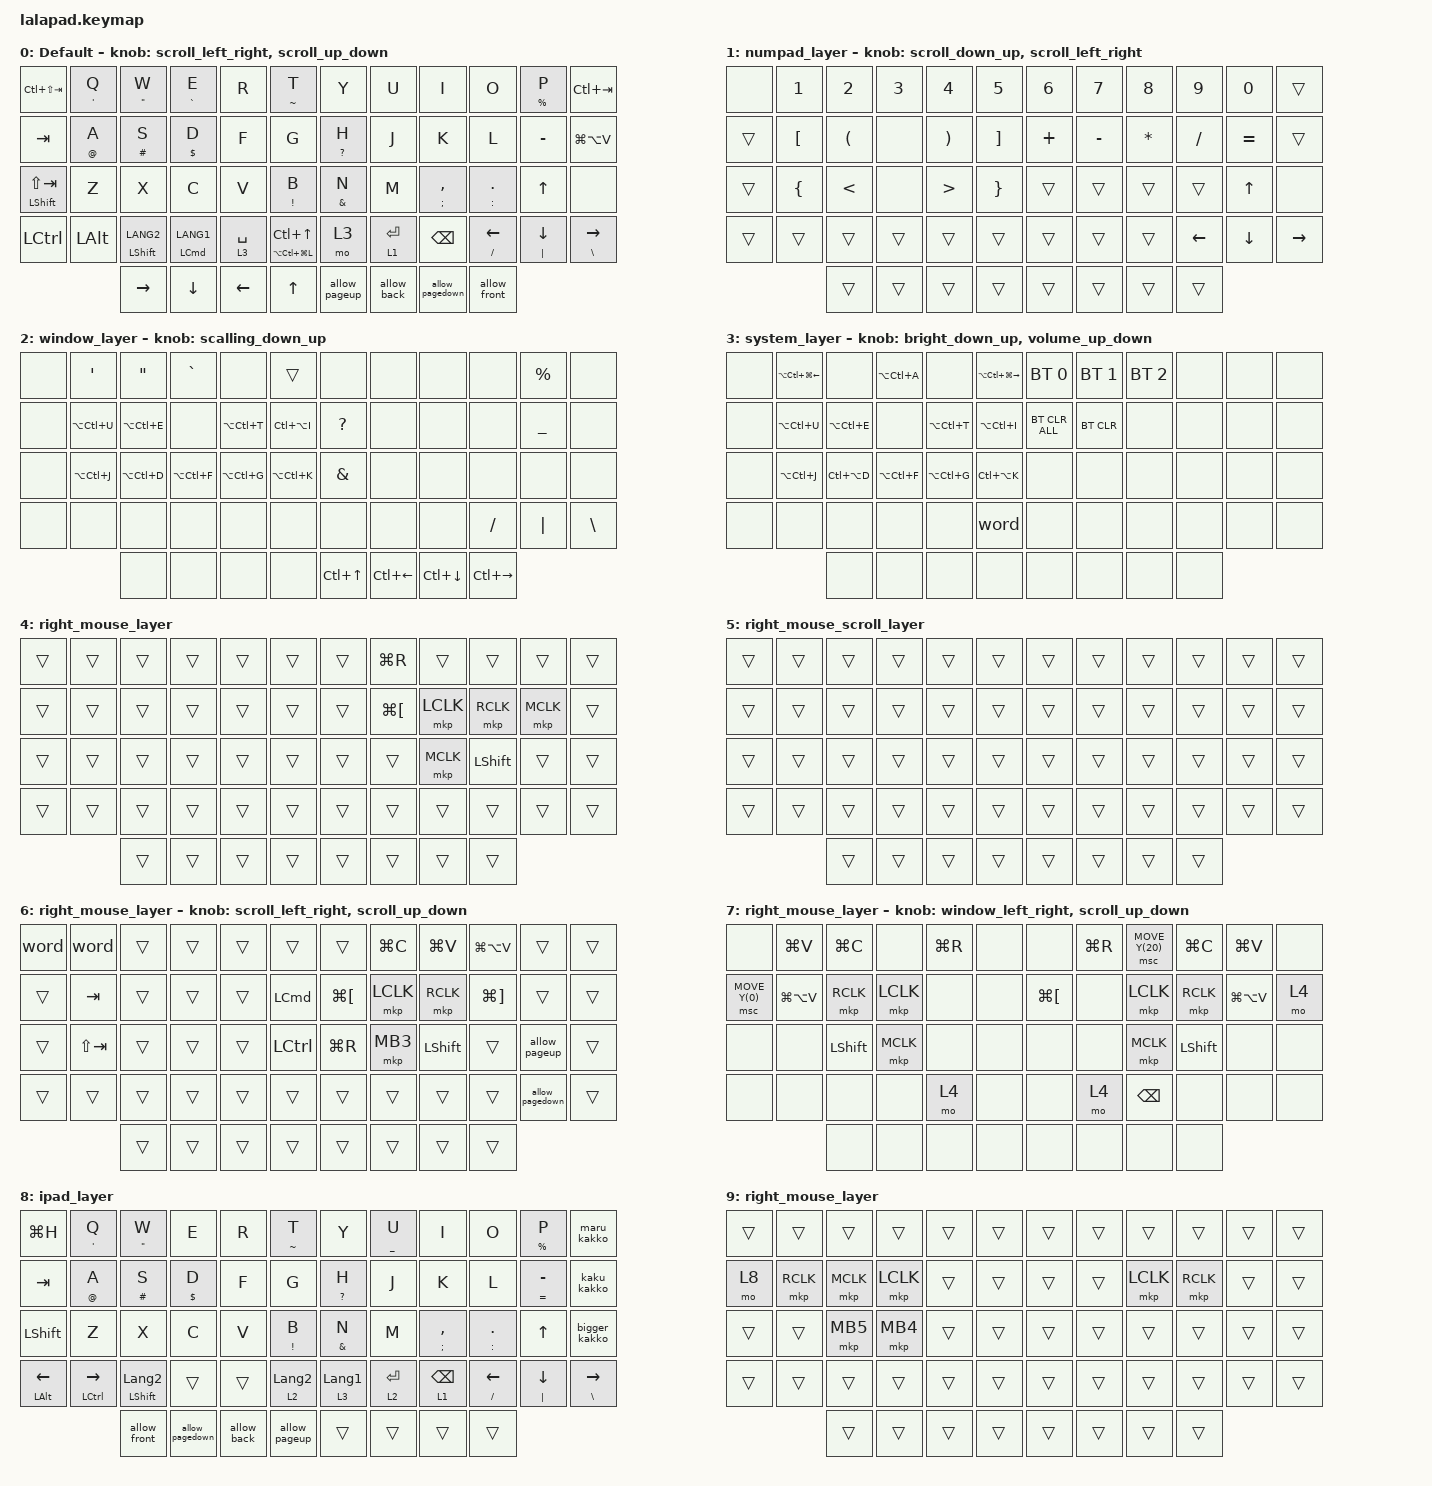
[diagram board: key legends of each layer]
#include <input/processors.dtsi>
#include <behaviors.dtsi>
#include <dt-bindings/zmk/bt.h>
#include <dt-bindings/zmk/keys.h>
#include <dt-bindings/zmk/pointing.h>

#define DEFAULT_LAYER   0
#define SECONDARY_LAYER 1
#define TERTIARY_LAYER  2
#define SYSTEM_LAYER    3
#define MOUSE_R_LAYER   4
#define SCROLL_R_LAYER  5
#define MOUSE_L_LAYER   6
#define SCROLL_L_LAYER  7

// Mouse Scroll Value

#define ZMK_POINTING_DEFAULT_SCRL_VAL 100

// cirque trackpad input&layer control

&glidepoint_listener_R {
    input-processors =
        <&zip_xy_transform (INPUT_TRANSFORM_XY_SWAP | INPUT_TRANSFORM_X_INVERT | INPUT_TRANSFORM_Y_INVERT)>,
        <&zip_xy_scaler 5 2>,
        <&zip_temp_layer MOUSE_R_LAYER 500>;

    lowspeedmode {
        layers = <TERTIARY_LAYER>;
        input-processors =
            <&zip_xy_transform (INPUT_TRANSFORM_XY_SWAP | INPUT_TRANSFORM_X_INVERT | INPUT_TRANSFORM_Y_INVERT)>,
            <&zip_xy_scaler 5 5>,
            <&zip_temp_layer MOUSE_R_LAYER 500>;
    };

    scroller {
        layers = <SCROLL_R_LAYER>;
        input-processors =
            <&zip_xy_to_scroll_mapper>,
            <&zip_scroll_transform (INPUT_TRANSFORM_XY_SWAP | INPUT_TRANSFORM_Y_INVERT)>,
            <&zip_scroll_scaler 1 8>;
    };
};

&glidepoint_listener_L {
    input-processors =
        <&zip_xy_transform (INPUT_TRANSFORM_XY_SWAP | INPUT_TRANSFORM_X_INVERT | INPUT_TRANSFORM_Y_INVERT)>,
        <&zip_xy_scaler 3 2>,
        <&zip_temp_layer MOUSE_L_LAYER 500>;

    lowspeedmode {
        layers = <SECONDARY_LAYER>;
        input-processors =
            <&zip_xy_transform (INPUT_TRANSFORM_XY_SWAP | INPUT_TRANSFORM_X_INVERT | INPUT_TRANSFORM_Y_INVERT)>,
            <&zip_xy_scaler 3 4>,
            <&zip_temp_layer MOUSE_L_LAYER 500>;
    };

    scroller {
        layers = <SCROLL_L_LAYER>;
        input-processors =
            <&zip_xy_to_scroll_mapper>,
            <&zip_scroll_transform (INPUT_TRANSFORM_XY_SWAP | INPUT_TRANSFORM_Y_INVERT)>,
            <&zip_scroll_scaler 1 6>;
    };
};

/ {
    behaviors {
        // Encoder to Mouse Scroll

        scroll_up_down: behavior_sensor_rotate_mouse_wheel_up_down {
            compatible = "zmk,behavior-sensor-rotate";
            #sensor-binding-cells = <0>;
            bindings = <&msc SCRL_UP>, <&msc SCRL_DOWN>;

            tap-ms = <20>;
        };

        scroll_down_up: behavior_sensor_rotate_mouse_wheel_down_up {
            compatible = "zmk,behavior-sensor-rotate";
            #sensor-binding-cells = <0>;
            bindings = <&msc SCRL_DOWN>, <&msc SCRL_UP>;

            tap-ms = <20>;
        };

        scroll_left_right: behavior_sensor_rotate_mouse_wheel_left_right {
            compatible = "zmk,behavior-sensor-rotate";
            #sensor-binding-cells = <0>;
            bindings = <&msc SCRL_LEFT>, <&msc SCRL_RIGHT>;

            tap-ms = <20>;
        };

        scroll_right_left: behavior_sensor_rotate_mouse_wheel_right_left {
            compatible = "zmk,behavior-sensor-rotate";
            #sensor-binding-cells = <0>;
            bindings = <&msc SCRL_RIGHT>, <&msc SCRL_LEFT>;

            tap-ms = <20>;
        };

        volume_up_down: behavior_sensor_rotate_volume_up_down {
            compatible = "zmk,behavior-sensor-rotate";
            #sensor-binding-cells = <0>;
            bindings = <&kp C_VOLUME_UP>, <&kp C_VOLUME_DOWN>;

            tap-ms = <20>;
        };

        dot_comma: dot_comma {
            compatible = "zmk,behavior-mod-morph";
            #binding-cells = <0>;
            bindings = <&kp KP_DOT>, <&kp COMMA>;

            mods = <(MOD_LSFT|MOD_RSFT)>;
            label = "DOT_COMMA";
        };

        pls_minus: pls_minus {
            compatible = "zmk,behavior-mod-morph";
            #binding-cells = <0>;
            bindings = <&kp PLUS>, <&kp MINUS>;

            mods = <(MOD_LSFT|MOD_RSFT)>;
            label = "PLS_MINUS";
        };

        allow_pageup: allow_pageup {
            compatible = "zmk,behavior-mod-morph";
            #binding-cells = <0>;
            bindings = <&kp UP>, <&kp PAGE_UP>;

            mods = <(MOD_LCTL|MOD_RCTL)>;
            label = "ALLOW_PAGEUP";
        };

        allow_pagedown: allow_pagedown {
            compatible = "zmk,behavior-mod-morph";
            #binding-cells = <0>;
            bindings = <&kp DOWN>, <&kp PAGE_DOWN>;

            mods = <(MOD_LCTL|MOD_RCTL)>;
            label = "ALLOW_PAGEDOWN";
        };

        allow_back: allow_back {
            compatible = "zmk,behavior-mod-morph";
            #binding-cells = <0>;
            bindings = <&kp LEFT>, <&kp LG(LEFT_BRACKET)>;

            mods = <(MOD_LCTL|MOD_RCTL)>;
            label = "ALLOW_BACK";
        };

        allow_front: allow_front {
            compatible = "zmk,behavior-mod-morph";
            #binding-cells = <0>;
            bindings = <&kp RIGHT>, <&kp LG(RIGHT_BRACKET)>;

            mods = <(MOD_LCTL|MOD_RCTL)>;
            label = "ALLOW_FRONT";
        };

        mt2: mod_tap2 {
            compatible = "zmk,behavior-hold-tap";
            #binding-cells = <2>;
            flavor = "balanced";
            tapping-term-ms = <250>;
            bindings = <&kp>, <&kp>;
        };

        scalling_down_up: scalling_down_up {
            compatible = "zmk,behavior-sensor-rotate";
            #sensor-binding-cells = <0>;
            bindings = <&kp LG(MINUS)>, <&kp LS(LG(EQUAL))>;

            tap-ms = <10>;
            label = "SCALLING_DOWN_UP";
        };

        bright_down_up: bright_down_up {
            compatible = "zmk,behavior-sensor-rotate";
            #sensor-binding-cells = <0>;
            bindings = <&kp C_BRIGHTNESS_DEC>, <&kp C_BRIGHTNESS_INC>;

            tap-ms = <20>;
            label = "BRIGHT_DOWN_UP";
        };

        new_behavior: new_behavior {
            compatible = "zmk,behavior-tap-dance";
            label = "NEW_BEHAVIOR";
            #binding-cells = <0>;
            bindings = <&kp LA(SPACE)>, <&kp LA(E)>, <&mo 3>;
        };

        window_left_right: window_left_right {
            compatible = "zmk,behavior-sensor-rotate";
            #sensor-binding-cells = <0>;
            bindings = <&kp LC(LEFT_ARROW)>, <&kp LC(RIGHT)>;

            tap-ms = <10>;
            label = "WINDOW_LEFT_RIGHT";
        };

        to_ja: to_ja {
            compatible = "zmk,behavior-tap-dance";
            label = "TO_JA";
            #binding-cells = <0>;
            bindings = <&kp LEFT_COMMAND>, <&kp LANG1>;
        };

        to_en: to_en {
            compatible = "zmk,behavior-tap-dance";
            label = "TO_EN";
            #binding-cells = <0>;
            bindings = <&kp LEFT_SHIFT>, <&kp LANG2>;
        };

        lt2: lt2 {
            compatible = "zmk,behavior-hold-tap";
            label = "LT2";
            bindings = <&mo>, <&kp>;

            #binding-cells = <2>;
            tapping-term-ms = <300>;
        };

        scroll_up_down_double: scroll_up_down_double {
            compatible = "zmk,behavior-sensor-rotate";
            #sensor-binding-cells = <0>;
            bindings = <&msc SCRL_UP>, <&msc SCRL_DOWN>;

            tap-ms = <10>;
            label = "SCROLL_UP_DOWN_DOUBLE";
        };

        move_window: move_window {
            compatible = "zmk,behavior-sensor-rotate";
            #sensor-binding-cells = <0>;
            bindings = <&kp LC(LA(LG(LEFT)))>, <&kp LA(LG(LC(RIGHT)))>;

            tap-ms = <200>;
            label = "MOVE_WINDOW";
        };
    };

    macros {
        word: word {
            compatible = "zmk,behavior-macro";
            #binding-cells = <0>;
            bindings = <&kp LANGUAGE_1 &kp RS(T) &kp K &kp Y &kp T &kp M &kp N &kp N5 &kp NUMBER_2 &kp NUMBER_4 &kp N8 &kp ENTER>;
            label = "WORD";
        };

        maru_kakko: maru_kakko {
            compatible = "zmk,behavior-macro";
            #binding-cells = <0>;
            bindings = <&kp LEFT_PARENTHESIS &kp RIGHT_PARENTHESIS &kp LEFT>;
            label = "MARU_KAKKO";
        };

        kaku_kakko: kaku_kakko {
            compatible = "zmk,behavior-macro";
            #binding-cells = <0>;
            bindings = <&kp LEFT_BRACKET &kp RIGHT_BRACKET &kp LEFT>;
            label = "KAKU_KAKKO";
        };

        bigger_kakko: new_macro {
            compatible = "zmk,behavior-macro";
            #binding-cells = <0>;
            bindings = <&kp LESS_THAN &kp GREATER_THAN &kp LEFT>;
            label = "NEW_MACRO";
        };
    };

    combos {
        compatible = "zmk,combos";

        screenshot {
            bindings = <&kp LG(LS(NUMBER_4))>;
            key-positions = <36 38>;
        };

        screencapture {
            bindings = <&kp LS(LG(N5))>;
            key-positions = <36 37>;
        };

        escape {
            bindings = <&kp ESCAPE>;
            key-positions = <36 0>;
        };

        taskmanager {
            bindings = <&kp LA(LG(ESCAPE))>;
            key-positions = <36 12>;
        };

        lock {
            bindings = <&kp LC(LG(Q))>;
            key-positions = <36 24>;
        };

        emoji {
            bindings = <&kp LG(LC(SPACE))>;
            key-positions = <39 36>;
        };

        sleep {
            bindings = <&kp LA(LG(K_POWER))>;
            key-positions = <36 25>;
        };
    };

    keymap {
        compatible = "zmk,keymap";

        DEFAULT_LAYER {
            display-name = "Default";
            sensor-bindings = <&scroll_left_right>, <&scroll_up_down>;

            bindings = <
&kp LC(LS(TAB))         &mt2 SINGLE_QUOTE Q  &mt2 DOUBLE_QUOTES W  &mt2 GRAVE E            &kp R        &mt2 TILDE T                     &kp Y             &kp U        &kp I                 &kp O              &mt2 PERCENT P        &kp LC(TAB)
&kp TAB                 &mt2 AT A            &mt2 HASH S           &mt2 DOLLAR D           &kp F        &kp G                            &mt2 QUESTION H   &kp J        &kp K                 &kp L              &kp MINUS             &kp LG(LA(V))
&mt LEFT_SHIFT LS(TAB)  &kp Z                &kp X                 &kp C                   &kp V        &mt2 EXCLAMATION B               &mt2 AMPERSAND N  &kp M        &mt2 SEMICOLON COMMA  &mt2 COLON PERIOD  &kp UP_ARROW          &none
&kp LCTRL               &kp LEFT_ALT         &mt LEFT_SHIFT LANG2  &mt LEFT_COMMAND LANG1  &lt 3 SPACE  &mt2 LA(LC(LG(L))) LC(UP_ARROW)  &mo 3             &lt 1 ENTER  &kp BACKSPACE         &mt2 SLASH LEFT    &mt2 PIPE DOWN_ARROW  &mt2 BACKSLASH RIGHT
                                             &kp RIGHT             &kp DOWN                &kp LEFT     &kp UP                           &allow_pageup     &allow_back  &allow_pagedown       &allow_front
            >;
        };

        SECONDARY_LAYER {
            display-name = "numpad_layer";
            sensor-bindings = <&scroll_down_up>, <&scroll_left_right>;

            bindings = <
&none   &kp NUMBER_1      &kp NUMBER_2          &kp NUMBER_3  &kp NUMBER_4           &kp NUMBER_5       &kp NUMBER_6  &kp N7     &kp N8     &kp N9          &kp N0          &trans
&trans  &kp LEFT_BRACKET  &kp LEFT_PARENTHESIS  &none         &kp RIGHT_PARENTHESIS  &kp RIGHT_BRACKET  &kp PLUS      &kp MINUS  &kp ASTRK  &kp SLASH       &kp EQUAL       &trans
&trans  &kp LEFT_BRACE    &kp LESS_THAN         &none         &kp GREATER_THAN       &kp RIGHT_BRACE    &trans        &trans     &trans     &trans          &kp UP_ARROW    &none
&trans  &trans            &trans                &trans        &trans                 &trans             &trans        &trans     &trans     &kp LEFT_ARROW  &kp DOWN_ARROW  &kp RIGHT_ARROW
                          &trans                &trans        &trans                 &trans             &trans        &trans     &trans     &trans
            >;
        };

        KIGOU_LAYER {
            display-name = "window_layer";
            bindings = <
&none  &kp SINGLE_QUOTE  &kp DOUBLE_QUOTES  &kp GRAVE      &none          &trans         &none             &none         &none         &none          &kp PERCENT  &none
&none  &kp LA(LC(U))     &kp LA(LC(E))      &none          &kp LA(LC(T))  &kp LC(LA(I))  &kp QUESTION      &none         &none         &none          &kp UNDER    &none
&none  &kp LA(LC(J))     &kp LA(LC(D))      &kp LA(LC(F))  &kp LA(LC(G))  &kp LA(LC(K))  &kp AMPERSAND     &none         &none         &none          &none        &none
&none  &none             &none              &none          &none          &none          &none             &none         &none         &kp SLASH      &kp PIPE     &kp BACKSLASH
                         &none              &none          &none          &none          &kp LC(UP_ARROW)  &kp LC(LEFT)  &kp LC(DOWN)  &kp LC(RIGHT)
            >;

            sensor-bindings = <&scalling_down_up>;
        };

        SYSTEM_LAYER {
            display-name = "system_layer";
            sensor-bindings = <&bright_down_up>, <&volume_up_down>;

            bindings = <
&none  &kp LA(LC(LG(LEFT)))  &none          &kp LA(LC(A))  &none          &kp LA(LC(LG(RIGHT)))  &bt BT_SEL 0    &bt BT_SEL 1  &bt BT_SEL 2  &none  &none  &none
&none  &kp LA(LC(U))         &kp LA(LC(E))  &none          &kp LA(LC(T))  &kp LA(LC(I))          &bt BT_CLR_ALL  &bt BT_CLR    &none         &none  &none  &none
&none  &kp LA(LC(J))         &kp LC(LA(D))  &kp LA(LC(F))  &kp LA(LC(G))  &kp LC(LA(K))          &none           &none         &none         &none  &none  &none
&none  &none                 &none          &none          &none          &word                  &none           &none         &none         &none  &none  &none
                             &none          &none          &none          &none                  &none           &none         &none         &none
            >;
        };

        MOUSE_R_LAYER {
            display-name = "right_mouse_layer";
            bindings = <
&trans  &trans  &trans  &trans  &trans  &trans  &trans  &kp LG(R)             &trans     &trans          &trans     &trans
&trans  &trans  &trans  &trans  &trans  &trans  &trans  &kp LG(LEFT_BRACKET)  &mkp LCLK  &mkp RCLK       &mkp MCLK  &trans
&trans  &trans  &trans  &trans  &trans  &trans  &trans  &trans                &mkp MCLK  &kp LEFT_SHIFT  &trans     &trans
&trans  &trans  &trans  &trans  &trans  &trans  &trans  &trans                &trans     &trans          &trans     &trans
                &trans  &trans  &trans  &trans  &trans  &trans                &trans     &trans
            >;
        };

        SCROLL_L_LAYER {
            display-name = "right_mouse_scroll_layer";
            bindings = <
&trans  &trans  &trans  &trans  &trans  &trans  &trans  &trans  &trans  &trans  &trans  &trans
&trans  &trans  &trans  &trans  &trans  &trans  &trans  &trans  &trans  &trans  &trans  &trans
&trans  &trans  &trans  &trans  &trans  &trans  &trans  &trans  &trans  &trans  &trans  &trans
&trans  &trans  &trans  &trans  &trans  &trans  &trans  &trans  &trans  &trans  &trans  &trans
                &trans  &trans  &trans  &trans  &trans  &trans  &trans  &trans
            >;
        };

        mouse_contrall_layer {
            display-name = "right_mouse_layer";
            bindings = <
&word   &word        &trans  &trans  &trans  &trans            &trans                &kp LG(C)  &kp LG(V)       &kp LG(LA(V))          &trans           &trans
&trans  &kp TAB      &trans  &trans  &trans  &kp LEFT_COMMAND  &kp LG(LEFT_BRACKET)  &mkp LCLK  &mkp RCLK       &kp LG(RIGHT_BRACKET)  &trans           &trans
&trans  &kp LS(TAB)  &trans  &trans  &trans  &kp LEFT_CONTROL  &kp LG(R)             &mkp MB3   &kp LEFT_SHIFT  &trans                 &allow_pageup    &trans
&trans  &trans       &trans  &trans  &trans  &trans            &trans                &trans     &trans          &trans                 &allow_pagedown  &trans
                     &trans  &trans  &trans  &trans            &trans                &trans     &trans          &trans
            >;

            sensor-bindings = <&scroll_left_right>, <&scroll_up_down>;
        };

        layer_9 {
            display-name = "right_mouse_layer";
            bindings = <
&none           &kp LG(V)      &kp LG(C)       &none      &kp LG(R)  &none  &none                 &kp LG(R)  &msc MOVE_Y(20)  &kp LG(C)       &kp LG(V)      &none
&msc MOVE_Y(0)  &kp LG(LA(V))  &mkp RCLK       &mkp LCLK  &none      &none  &kp LG(LEFT_BRACKET)  &none      &mkp LCLK        &mkp RCLK       &kp LG(LA(V))  &mo 4
&none           &none          &kp LEFT_SHIFT  &mkp MCLK  &none      &none  &none                 &none      &mkp MCLK        &kp LEFT_SHIFT  &none          &none
&none           &none          &none           &none      &mo 4      &none  &none                 &mo 4      &kp BACKSPACE    &none           &none          &none
                               &none           &none      &none      &none  &none                 &none      &none            &none
            >;

            sensor-bindings = <&window_left_right>, <&scroll_up_down>;
        };

        left_mouse_layer {
            display-name = "ipad_layer";
            bindings = <
&kp LG(H)           &mt2 SQT Q               &mt2 DOUBLE_QUOTES W        &kp E            &kp R        &mt2 TILDE T        &kp Y             &mt2 UNDERSCORE U  &kp I                 &kp O              &mt2 PERCENT P    &maru_kakko
&kp TAB             &mt2 AT_SIGN A           &mt2 HASH S                 &mt2 DOLLAR D    &kp F        &kp G               &mt2 QUESTION H   &kp J              &kp K                 &kp L              &mt2 EQUAL MINUS  &kaku_kakko
&kp LEFT_SHIFT      &kp Z                    &kp X                       &kp C            &kp V        &mt2 EXCLAMATION B  &mt2 AMPERSAND N  &kp M              &mt2 SEMICOLON COMMA  &mt2 COLON PERIOD  &kp UP_ARROW      &bigger_kakko
&mt2 LEFT_ALT LEFT  &mt2 LEFT_CONTROL RIGHT  &mt2 LEFT_SHIFT LANGUAGE_2  &trans           &trans       &lt 2 LANGUAGE_2    &lt 3 LANGUAGE_1  &lt 2 ENTER        &lt 1 BACKSPACE       &mt2 SLASH LEFT    &mt2 PIPE DOWN    &mt2 BSLH RIGHT
                                             &allow_front                &allow_pagedown  &allow_back  &allow_pageup       &trans            &trans             &trans                &trans
            >;
        };

        MOUSE_L_LAYER {
            display-name = "right_mouse_layer";
            bindings = <
&trans  &trans     &trans     &trans     &trans  &trans  &trans  &trans  &trans     &trans     &trans  &trans
&mo 8   &mkp RCLK  &mkp MCLK  &mkp LCLK  &trans  &trans  &trans  &trans  &mkp LCLK  &mkp RCLK  &trans  &trans
&trans  &trans     &mkp MB5   &mkp MB4   &trans  &trans  &trans  &trans  &trans     &trans     &trans  &trans
&trans  &trans     &trans     &trans     &trans  &trans  &trans  &trans  &trans     &trans     &trans  &trans
                   &trans     &trans     &trans  &trans  &trans  &trans  &trans     &trans
            >;
        };
    };
};
